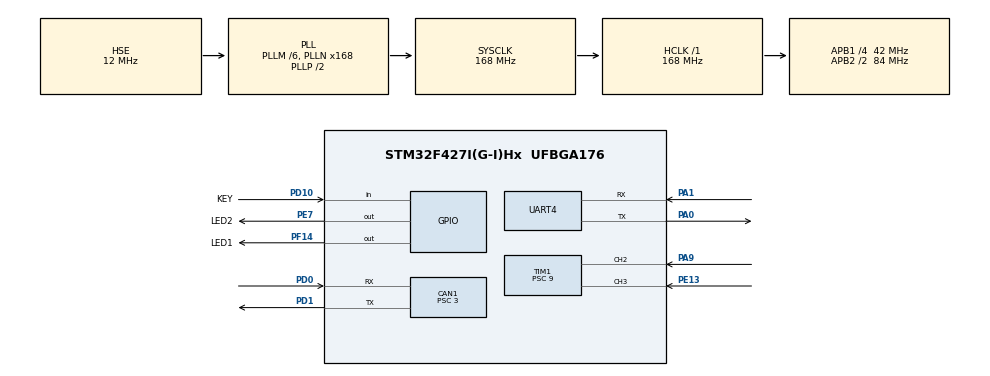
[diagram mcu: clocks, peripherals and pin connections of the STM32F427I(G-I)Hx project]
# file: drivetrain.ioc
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CAN1.ABOM=ENABLE
CAN1.BS1=CAN_BS1_9TQ
CAN1.BS2=CAN_BS2_4TQ
CAN1.CalculateBaudRate=1000000
CAN1.CalculateTimeBit=1000
CAN1.CalculateTimeQuantum=71.42857142857143
CAN1.Prescaler=3
CAN1.SJW=CAN_SJW_1TQ
Dma.Request0=TIM1_CH1/CH2/CH3
Dma.TIM1_CH1/CH2/CH3.0.Direction=DMA_PERIPH_TO_MEMORY
Dma.TIM1_CH1/CH2/CH3.0.FIFOMode=DMA_FIFOMODE_DISABLE
Dma.TIM1_CH1/CH2/CH3.0.Instance=DMA2_Stream6
Dma.TIM1_CH1/CH2/CH3.0.MemDataAlignment=DMA_MDATAALIGN_HALFWORD
Dma.TIM1_CH1/CH2/CH3.0.MemInc=DMA_MINC_ENABLE
Dma.TIM1_CH1/CH2/CH3.0.Mode=DMA_CIRCULAR
Dma.TIM1_CH1/CH2/CH3.0.PeriphDataAlignment=DMA_PDATAALIGN_HALFWORD
Dma.TIM1_CH1/CH2/CH3.0.PeriphInc=DMA_PINC_DISABLE
Dma.TIM1_CH1/CH2/CH3.0.Priority=DMA_PRIORITY_LOW
Mcu.Family=STM32F4
Mcu.Name=STM32F427I(G-I)Hx
Mcu.Package=UFBGA176
NVIC.CAN1_RX0_IRQn=true\:0\:0\:false\:false\:true\:true\:true\:true
NVIC.CAN1_TX_IRQn=true\:0\:0\:false\:false\:true\:true\:true\:true
NVIC.DMA2_Stream6_IRQn=true\:0\:0\:false\:false\:true\:false\:true\:true
NVIC.PriorityGroup=NVIC_PRIORITYGROUP_4
NVIC.TIM6_DAC_IRQn=true\:15\:0\:false\:false\:true\:true\:true\:true
NVIC.TimeBase=TIM6_DAC_IRQn
NVIC.TimeBaseIP=TIM6
PA0/WKUP.Mode=Asynchronous
PA0/WKUP.Signal=UART4_TX
PA1.Mode=Asynchronous
PA1.Signal=UART4_RX
PA13.Mode=Serial_Wire
PA13.Signal=SYS_JTMS-SWDIO
PA14.Mode=Serial_Wire
PA14.Signal=SYS_JTCK-SWCLK
PA9.Signal=S_TIM1_CH2
PD0.Mode=CAN_Activate
PD0.Signal=CAN1_RX
PD1.Mode=CAN_Activate
PD1.Signal=CAN1_TX
PD10.GPIO_Label=KEY
PD10.Signal=GPIO_Input
PE13.Signal=S_TIM1_CH3
PE7.GPIO_Label=LED2
PE7.Signal=GPIO_Output
PF14.GPIO_Label=LED1
PF14.Signal=GPIO_Output
PH0/OSC_IN.Mode=HSE-External-Oscillator
PH0/OSC_IN.Signal=RCC_OSC_IN
PH1/OSC_OUT.Mode=HSE-External-Oscillator
PH1/OSC_OUT.Signal=RCC_OSC_OUT
ProjectManager.HeapSize=0x200
ProjectManager.StackSize=0x400
ProjectManager.TargetToolchain=STM32CubeIDE
RCC.48MHZClocksFreq_Value=84000000
RCC.AHBFreq_Value=168000000
RCC.APB1CLKDivider=RCC_HCLK_DIV4
RCC.APB1Freq_Value=42000000
RCC.APB1TimFreq_Value=84000000
RCC.APB2CLKDivider=RCC_HCLK_DIV2
RCC.APB2Freq_Value=84000000
RCC.APB2TimFreq_Value=168000000
RCC.CortexFreq_Value=168000000
RCC.HCLKFreq_Value=168000000
RCC.HSE_VALUE=12000000
RCC.HSI_VALUE=16000000
RCC.LSE_VALUE=32768
RCC.PLLM=6
RCC.PLLN=168
RCC.PLLSourceVirtual=RCC_PLLSOURCE_HSE
RCC.SYSCLKFreq_VALUE=168000000
RCC.SYSCLKSource=RCC_SYSCLKSOURCE_PLLCLK
RCC.VCOOutputFreq_Value=336000000
SH.S_TIM1_CH2.0=TIM1_CH2,Input_Capture2_from_TI2
SH.S_TIM1_CH2.1=TIM1_CH2,Input_Capture1_from_TI2
SH.S_TIM1_CH3.0=TIM1_CH3,Input_Capture3_from_TI3
SH.S_TIM1_CH3.1=TIM1_CH3,Input_Capture4_from_TI3
TIM1.Channel-Input_Capture1_from_TI2=TIM_CHANNEL_1
TIM1.Channel-Input_Capture2_from_TI2=TIM_CHANNEL_2
TIM1.Channel-Input_Capture3_from_TI3=TIM_CHANNEL_3
TIM1.Channel-Input_Capture4_from_TI3=TIM_CHANNEL_4
TIM1.ICPolarity_CH2=TIM_INPUTCHANNELPOLARITY_BOTHEDGE
TIM1.Period=9999
TIM1.Prescaler=9
UART4.VirtualMode=Asynchronous
VP_SYS_VS_tim6.Mode=TIM6
board=demo

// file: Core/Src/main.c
/* USER CODE BEGIN Header */
/**
 ******************************************************************************
 * @file           : main.c
 * @brief          : Main program body
 ******************************************************************************
 * @attention
 *
 * Copyright (c) 2023 STMicroelectronics.
 * All rights reserved.
 *
 * This software is licensed under terms that can be found in the LICENSE file
 * in the root directory of this software component.
 * If no LICENSE file comes with this software, it is provided AS-IS.
 *
 ******************************************************************************
 */
/* USER CODE END Header */

/* USER CODE BEGIN Includes */
#include "main.h"
#include "can.h"
#include "dma.h"
#include "tim.h"
#include "usart.h"
#include "gpio.h"
#include "PID.h"
#include <limits.h>

// External UART handle (defined in usart.c, generated by CubeMX)
extern UART_HandleTypeDef huart4;
/* USER CODE END Includes */

/* USER CODE BEGIN PD */
#define MOTOR_COUNT 4

#define UART_RX_PAYLOAD_RUNTIME 9
#define UART_RX_PAYLOAD_PID 7
#define UART_RX_BUFFER_SIZE UART_RX_PAYLOAD_RUNTIME
#define UART_TX_BUFFER_SIZE 12  // reserved for transmit (unused today)
#define HEADER_BYTE_1 0xCA        // UART sync byte 1
#define HEADER_BYTE_2_RUNTIME 0xFE // UART sync byte 2 (runtime)
#define HEADER_BYTE_2_PID 0xEE     // UART sync byte 2 (PID tuning)
#define DRIBBLE_ON 0x01           // command flag for dribbler
#define PID_SCALE 1000.0f
#define PID_WHEEL_ALL 4
#define PID_WHEEL_ALL_ALT 0xFF

#define UART_RX_MODE_NONE 0
#define UART_RX_MODE_RUNTIME 1
#define UART_RX_MODE_PID 2

#define CONTROL_LOOP_DELAY_MS 10
#define TARGET_SCALE 100.0f
#define DRIBBLE_SCALE -100

// Ramp tuning: milliseconds per unit of target.
// Smaller values ramp faster; larger values ramp slower.
#define WHEEL_RAMP_MS_PER_UNIT 10.0f
#define DRIBBLER_RAMP_MS_PER_UNIT 2.0f

#define CAN_MOTOR_TX_STDID 0x200
#define CAN_DRIBBLER_TX_STDID 0x1FF
#define CAN_MOTOR_RX_STDID_BASE 0x201

#define REDUCTION_RATIO 36.0f
#define RPM_TO_RADS 0.10472f

#define PROPORTIONAL_GAIN 1000.0f
#define INTEGRAL_GAIN 0.0f
#define DERIVATIVE_GAIN 0.0f

#define RIGHT_GAIN_MULT 1.0f
#define LEFT_GAIN_MULT 0.9f

// Telemetry over UART -> ESP32 -> UDP.
#define TELEMETRY_ENABLED 1
#define TELEMETRY_PERIOD_MS 500
#define TELEMETRY_HEADER_1 0xFE
#define TELEMETRY_HEADER_2 0xED
#define TELEMETRY_PAYLOAD_SIZE 28
#define TELEMETRY_PACKET_SIZE 30

/* USER CODE END PD */

/* USER CODE BEGIN PV */

// CAN variables (tx/rx headers and data buffers).
CAN_TxHeaderTypeDef canTxHeader;  // Motors 1-4 (StdId 0x200)
CAN_TxHeaderTypeDef canTxHeader2; // Motor 5 (dribbler) (StdId 0x1FF)
CAN_RxHeaderTypeDef canRxHeader;
uint32_t canTxMailbox;
uint8_t CAN_TxData[8];
uint8_t CAN2_TxData[8];
uint8_t CAN_RxData[8];

// Motor feedback/control state (shared between ISR and main loop).
volatile uint8_t motor_idx;
volatile uint16_t angle_data[MOTOR_COUNT];
volatile float speed_data[MOTOR_COUNT];
volatile float torque_current_data[MOTOR_COUNT];
volatile float targetSpeeds[MOTOR_COUNT];
volatile int dribble_speed;
PID_TypeDef motor_pid[MOTOR_COUNT];

// Ramped setpoints used by the control loop.
static float ramped_target_speeds[MOTOR_COUNT];
static float ramped_dribbler_speed;
static uint32_t ramp_last_ms;

/*volatile float Kp1 = 0.503;
volatile float Ki1 = 0.005;
volatile float Kd1 = 0.00;
volatile float Kp2 = 0.3;
volatile float Ki2 = 0.0;
volatile float Kd2 = 0.00;
volatile float Kp3 = 0.273;
volatile float Ki3 = 0.0;
volatile float Kd3 = 0.00;
volatile float Kp4 = 0.403;
volatile float Ki4 = 0.0;
volatile float Kd4 = 0.00;*/

// PID limits and defaults.
const float INTEGRAL_LIMIT = 1000.0f;
const float MAXOUT = 3000.0f;
const float DEADBAND = 0.5f;
const float TARGET = 0.0f;

volatile float Kp1 = PROPORTIONAL_GAIN * RIGHT_GAIN_MULT; // front-right
volatile float Ki1 = INTEGRAL_GAIN;
volatile float Kd1 = DERIVATIVE_GAIN;

volatile float Kp2 = PROPORTIONAL_GAIN * RIGHT_GAIN_MULT; // back-right
volatile float Ki2 = INTEGRAL_GAIN;
volatile float Kd2 = DERIVATIVE_GAIN;

volatile float Kp3 = PROPORTIONAL_GAIN * LEFT_GAIN_MULT; // back-left
volatile float Ki3 = INTEGRAL_GAIN;
volatile float Kd3 = DERIVATIVE_GAIN;

volatile float Kp4 = PROPORTIONAL_GAIN * LEFT_GAIN_MULT; // front-left
volatile float Ki4 = INTEGRAL_GAIN;
volatile float Kd4 = DERIVATIVE_GAIN;

// UART setup (rx is interrupt-driven).
uint8_t uart_rx_buffer[UART_RX_BUFFER_SIZE];
uint8_t uart_tx_buffer[UART_TX_BUFFER_SIZE];
volatile uint8_t rx_byte = 0;
volatile int header1_flag = 0;
volatile int header2_flag = 0;
volatile uint8_t rx_mode = UART_RX_MODE_NONE;
volatile uint8_t rx_expected_length = 0;

// Telemetry TX state.
static uint8_t telemetry_tx_buffer[TELEMETRY_PACKET_SIZE];
static volatile uint8_t telemetry_tx_busy;
static uint32_t telemetry_last_ms;

// Safety timeout for comms loss (incremented in main loop).
volatile int timeout;

/* USER CODE END PV */

void SystemClock_Config(void);
/* USER CODE BEGIN PFP */

// Application initialization and control loop.
static void app_init(void);
static void control_loop_step(void);

// Hardware/runtime setup helpers.
static void init_motor_power_pins(void);
static void init_can_headers(void);
static void init_pid_controllers(void);
static void init_feedback_buffers(void);
static void init_target_buffers(void);
static void init_status_leds(void);
static void init_uart_state(void);
static void start_uart_rx(void);

// CAN/UART parsing helpers.
static uint8_t motor_index_from_std_id(uint32_t std_id, uint8_t *out_index);
static void update_feedback_from_can(uint8_t index, const uint8_t data[8]);
static void apply_uart_packet(const uint8_t *payload);
static void apply_pid_packet(const uint8_t *payload);
static int16_t bytes_to_int16_be(const uint8_t *bytes);
static int16_t clamp_int16_from_float(float value);
static void telemetry_try_send(void);

// Utility helpers.
static void clear_buffer(uint8_t *buffer, uint32_t length);
static void split_int16(int16_t value, uint8_t *high, uint8_t *low);
static float ramp_linear(float current, float target, float ms_per_unit, float dt_ms);
static float ramp_get_dt_ms(void);
static void set_pid_for_wheel(uint8_t wheel, float kp, float ki, float kd);

/* USER CODE END PFP */

/* USER CODE BEGIN 0 */

// Clear a buffer to zero.
static void clear_buffer(uint8_t *buffer, uint32_t length)
{
	for (uint32_t i = 0; i < length; ++i) {
		buffer[i] = 0;
	}
}

// Split a signed 16-bit value into high/low bytes (big-endian).
static void split_int16(int16_t value, uint8_t *high, uint8_t *low)
{
	uint16_t uvalue = (uint16_t)value;
	*high = (uint8_t)((uvalue >> 8) & 0xFF);
	*low = (uint8_t)(uvalue & 0xFF);
}

// Combine two bytes into a signed 16-bit value (big-endian).
static int16_t bytes_to_int16_be(const uint8_t *bytes)
{
	return (int16_t)((bytes[0] << 8) | bytes[1]);
}

// Clamp and round a float into int16 range.
static int16_t clamp_int16_from_float(float value)
{
	if (value > (float)INT16_MAX) {
		return INT16_MAX;
	}
	if (value < (float)INT16_MIN) {
		return INT16_MIN;
	}
	if (value >= 0.0f) {
		value += 0.5f;
	} else {
		value -= 0.5f;
	}
	return (int16_t)value;
}

// Linear ramp limiter: advances current toward target at a fixed slope.
// ms_per_unit sets how many milliseconds it takes to change by 1 unit.
static float ramp_linear(float current, float target, float ms_per_unit, float dt_ms)
{
	if (ms_per_unit <= 0.0f) {
		return target;
	}

	if (dt_ms <= 0.0f) {
		return current;
	}

	float max_delta = dt_ms / ms_per_unit;
	float delta = target - current;

	if (delta > max_delta) {
		delta = max_delta;
	} else if (delta < -max_delta) {
		delta = -max_delta;
	}

	return current + delta;
}

// Compute elapsed time since last ramp update in milliseconds.
static float ramp_get_dt_ms(void)
{
	uint32_t now = HAL_GetTick();
	if (ramp_last_ms == 0) {
		ramp_last_ms = now;
		return 0.0f;
	}

	uint32_t dt_ms = now - ramp_last_ms;
	ramp_last_ms = now;
	return (float)dt_ms;
}

// Enable motor power pins on startup.
static void init_motor_power_pins(void)
{
	HAL_GPIO_TogglePin(MOTOR_PORT, MOTOR1_PIN);
	HAL_GPIO_TogglePin(MOTOR_PORT, MOTOR2_PIN);
	HAL_GPIO_TogglePin(MOTOR_PORT, MOTOR3_PIN);
	HAL_GPIO_TogglePin(MOTOR_PORT, MOTOR4_PIN);
	HAL_GPIO_TogglePin(MOTOR_PORT, MOTOR5_PIN);
}

// Configure CAN transmit headers for drivetrain and dribbler.
static void init_can_headers(void)
{
	canTxHeader.DLC = 8;
	canTxHeader.IDE = CAN_ID_STD;
	canTxHeader.RTR = CAN_RTR_DATA;
	canTxHeader.StdId = CAN_MOTOR_TX_STDID;
	canTxHeader.TransmitGlobalTime = DISABLE;

	canTxHeader2.DLC = 8;
	canTxHeader2.IDE = CAN_ID_STD;
	canTxHeader2.RTR = CAN_RTR_DATA;
	canTxHeader2.StdId = CAN_DRIBBLER_TX_STDID;
	canTxHeader2.TransmitGlobalTime = DISABLE;
}

// Initialize feedback buffers used by the control loop.
static void init_feedback_buffers(void)
{
	for (int i = 0; i < MOTOR_COUNT; ++i) {
		angle_data[i] = 0;
		speed_data[i] = 0.0f;
		torque_current_data[i] = 0.0f;
	}
}

// Initialize command/target buffers used by the control loop.
static void init_target_buffers(void)
{
	for (int i = 0; i < MOTOR_COUNT; ++i) {
		targetSpeeds[i] = 0.0f;
		ramped_target_speeds[i] = 0.0f;
	}
	dribble_speed = 0;
	ramped_dribbler_speed = 0.0f;
	ramp_last_ms = HAL_GetTick();
}

// Initialize PID controllers for each wheel.
static void init_pid_controllers(void)
{
	pid_init(&motor_pid[0], MAXOUT, INTEGRAL_LIMIT, DEADBAND, TARGET, Kp1, Ki1, Kd1);
	pid_init(&motor_pid[1], MAXOUT, INTEGRAL_LIMIT, DEADBAND, TARGET, Kp2, Ki2, Kd2);
	pid_init(&motor_pid[2], MAXOUT, INTEGRAL_LIMIT, DEADBAND, TARGET, Kp3, Ki3, Kd3);
	pid_init(&motor_pid[3], MAXOUT, INTEGRAL_LIMIT, DEADBAND, TARGET, Kp4, Ki4, Kd4);
}

// Initialize LEDs to off state.
static void init_status_leds(void)
{
	HAL_GPIO_WritePin(LED_GREEN_PORT, LED_GREEN_PIN, LED_OFF);
	HAL_GPIO_WritePin(LED_RED_PORT, LED_RED_PIN, LED_OFF);
}

// Initialize UART state machine and buffers.
static void init_uart_state(void)
{
	rx_byte = 0;
	header1_flag = 0;
	header2_flag = 0;
	rx_mode = UART_RX_MODE_NONE;
	rx_expected_length = 0;
	timeout = 0;
	telemetry_tx_busy = 0;
	telemetry_last_ms = 0;
	clear_buffer(uart_rx_buffer, UART_RX_BUFFER_SIZE);
	clear_buffer(uart_tx_buffer, UART_TX_BUFFER_SIZE);
}

// Begin receiving UART bytes via interrupt.
static void start_uart_rx(void)
{
	HAL_UART_Receive_IT(&huart4, &rx_byte, 1);
}

// One-time application setup.
static void app_init(void)
{
	init_motor_power_pins();
	init_can_headers();
	init_feedback_buffers();
	init_target_buffers();
	init_pid_controllers();
	init_status_leds();
	init_uart_state();
	start_uart_rx();
}

// Convert CAN StdId into motor index (0..MOTOR_COUNT-1).
static uint8_t motor_index_from_std_id(uint32_t std_id, uint8_t *out_index)
{
	if (std_id < CAN_MOTOR_RX_STDID_BASE
			|| std_id >= (CAN_MOTOR_RX_STDID_BASE + MOTOR_COUNT)) {
		return 0;
	}
	*out_index = (uint8_t)(std_id - CAN_MOTOR_RX_STDID_BASE);
	return 1;
}

// Update feedback arrays from a CAN RX payload.
static void update_feedback_from_can(uint8_t index, const uint8_t data[8])
{
	if (index >= MOTOR_COUNT) {
		return;
	}

	// Angle of the motor (0 - 8191 corresponding with 0 - 360 degrees).
	angle_data[index] = (uint16_t) (data[0] << 8 | data[1]);

	// Speed of the motor in rpm, converted to rad/s after gear reduction.
	int16_t rpm = (int16_t)((data[2] << 8) | data[3]);
	speed_data[index] = (rpm / REDUCTION_RATIO) * RPM_TO_RADS;

	// Torque current of the motor (raw units).
	torque_current_data[index] = (float)((data[4] << 8) | data[5]);
}

// Apply a full UART payload (already stripped of header bytes).
static void apply_uart_packet(const uint8_t *payload)
{
	targetSpeeds[0] = (float)bytes_to_int16_be(&payload[0]);
	targetSpeeds[1] = (float)bytes_to_int16_be(&payload[2]);
	targetSpeeds[2] = (float)bytes_to_int16_be(&payload[4]);
	targetSpeeds[3] = (float)bytes_to_int16_be(&payload[6]);
	// Optional tuning: boost front-right wheel (disabled by default).
	// targetSpeeds[0] = targetSpeeds[0] * 1.15f;
	// Historical note: |targetSpeeds[i]| was previously limited to 500.
	dribble_speed = (int8_t)payload[8];
}

// Update PID gains from a tuning packet payload.
static void apply_pid_packet(const uint8_t *payload)
{
	uint8_t wheel = payload[0];
	int16_t kp_q = bytes_to_int16_be(&payload[1]);
	int16_t ki_q = bytes_to_int16_be(&payload[3]);
	int16_t kd_q = bytes_to_int16_be(&payload[5]);

	float kp = ((float)kp_q) / PID_SCALE;
	float ki = ((float)ki_q) / PID_SCALE;
	float kd = ((float)kd_q) / PID_SCALE;

	if (wheel == PID_WHEEL_ALL || wheel == PID_WHEEL_ALL_ALT) {
		for (uint8_t i = 0; i < MOTOR_COUNT; ++i) {
			set_pid_for_wheel(i, kp, ki, kd);
		}
		return;
	}

	set_pid_for_wheel(wheel, kp, ki, kd);
}

// One iteration of the main control loop.
static void control_loop_step(void)
{
	float dt_ms = ramp_get_dt_ms();

	// Safety timeout when UART disconnects (uncomment if needed).
	if (timeout >= 200) {
		for (int i = 0; i < MOTOR_COUNT; ++i) {
			targetSpeeds[i] = 0.0f;
		}
	}

	for (int i = 0; i < MOTOR_COUNT; ++i) {
		// Target speeds arrive in centi-units; scale to match feedback units.
		float target = ((float)targetSpeeds[i]) / TARGET_SCALE;
		// Ramp the target to avoid instant changes.
		ramped_target_speeds[i] = ramp_linear(ramped_target_speeds[i], target,
				WHEEL_RAMP_MS_PER_UNIT, dt_ms);
		motor_pid[i].target = ramped_target_speeds[i];
		pid_calculate(&motor_pid[i], speed_data[i]);
	}

	// Ramp the dribbler command as well.
	float dribbler_target = (float)dribble_speed * DRIBBLE_SCALE;
	ramped_dribbler_speed = ramp_linear(ramped_dribbler_speed, dribbler_target,
			DRIBBLER_RAMP_MS_PER_UNIT, dt_ms);

	setMotorSpeeds((int16_t)motor_pid[0].output,
			(int16_t)motor_pid[1].output,
			(int16_t)motor_pid[2].output,
			(int16_t)motor_pid[3].output,
			(int16_t)ramped_dribbler_speed);

	timeout++;
}

// Send telemetry at a fixed rate without blocking the control loop.
static void telemetry_try_send(void)
{
#if TELEMETRY_ENABLED
	if (telemetry_tx_busy) {
		return;
	}

	uint32_t now = HAL_GetTick();
	if ((now - telemetry_last_ms) < TELEMETRY_PERIOD_MS) {
		return;
	}

	telemetry_tx_buffer[0] = TELEMETRY_HEADER_1;
	telemetry_tx_buffer[1] = TELEMETRY_HEADER_2;
	telemetry_tx_buffer[2] = (uint8_t)((now >> 24) & 0xFF);
	telemetry_tx_buffer[3] = (uint8_t)((now >> 16) & 0xFF);
	telemetry_tx_buffer[4] = (uint8_t)((now >> 8) & 0xFF);
	telemetry_tx_buffer[5] = (uint8_t)(now & 0xFF);

	uint8_t *payload = &telemetry_tx_buffer[6];
	for (int i = 0; i < MOTOR_COUNT; ++i) {
		int16_t target = clamp_int16_from_float(motor_pid[i].target * TARGET_SCALE);
		int16_t actual = clamp_int16_from_float(speed_data[i] * TARGET_SCALE);
		int16_t output = clamp_int16_from_float(motor_pid[i].output);

		split_int16(target, &payload[0], &payload[1]);
		split_int16(actual, &payload[2], &payload[3]);
		split_int16(output, &payload[4], &payload[5]);
		payload += 6;
	}

	if (HAL_UART_Transmit_IT(&huart4, telemetry_tx_buffer, TELEMETRY_PACKET_SIZE) == HAL_OK) {
		telemetry_tx_busy = 1;
		telemetry_last_ms = now;
	}
#endif
}

// Update PID gains for a single wheel and keep shadow variables in sync.
static void set_pid_for_wheel(uint8_t wheel, float kp, float ki, float kd)
{
	if (wheel >= MOTOR_COUNT) {
		return;
	}

	switch (wheel) {
	case 0:
		Kp1 = kp;
		Ki1 = ki;
		Kd1 = kd;
		break;
	case 1:
		Kp2 = kp;
		Ki2 = ki;
		Kd2 = kd;
		break;
	case 2:
		Kp3 = kp;
		Ki3 = ki;
		Kd3 = kd;
		break;
	case 3:
		Kp4 = kp;
		Ki4 = ki;
		Kd4 = kd;
		break;
	default:
		return;
	}

	pid_set_constants(&motor_pid[wheel], kp, ki, kd);
}

/* USER CODE END 0 */

int main(void) {

	/* MCU Configuration--------------------------------------------------------*/

	/* Reset of all peripherals, Initializes the Flash interface and the Systick. */
	HAL_Init();

	/* Configure the system clock */
	SystemClock_Config();

	//printf("Hello SWV!\r\n");
	/* Initialize all configured peripherals */
	MX_GPIO_Init();
	MX_DMA_Init();
	MX_CAN1_Init();
	MX_TIM1_Init();
	MX_UART4_Init();
	/* USER CODE BEGIN 2 */
	// Initialize runtime state and start peripherals.
	app_init();

	/* USER CODE END 2 */

	/* Infinite loop */
	/* USER CODE BEGIN WHILE */
	while (1) {
		// Main control loop iteration.
		control_loop_step();
		telemetry_try_send();
		HAL_Delay(CONTROL_LOOP_DELAY_MS);
		/* USER CODE END WHILE */

	}
}

void HAL_CAN_RxFifo0MsgPendingCallback(CAN_HandleTypeDef *hcan) {
	//HAL_GPIO_TogglePin(LED_GREEN_PORT,LED_GREEN_PIN);
	if (hcan != &hcan1) {
		return;
	}

	// Read the incoming CAN message.
	if (HAL_CAN_GetRxMessage(&hcan1, CAN_RX_FIFO0, &canRxHeader, CAN_RxData) != HAL_OK) {
		return;
	}

	// Map StdId to motor index and update feedback buffers.
	uint8_t index = 0;
	if (!motor_index_from_std_id(canRxHeader.StdId, &index)) {
		return;
	}

	motor_idx = index;
	update_feedback_from_can(index, CAN_RxData);
}

void HAL_UART_RxCpltCallback(UART_HandleTypeDef *huart) {
	(void)huart;
	// Called when a byte or the full UART payload has been received.

	if (!header1_flag) {
		if (rx_byte == HEADER_BYTE_1) {
			// First header byte received.
			header1_flag = 1;
		}
		HAL_UART_Receive_IT(&huart4, &rx_byte, 1);
		return;
	}

	if (header2_flag) {
		// Full message received.
		timeout = 0;

		if (rx_mode == UART_RX_MODE_RUNTIME) {
			apply_uart_packet(uart_rx_buffer);
		} else if (rx_mode == UART_RX_MODE_PID) {
			apply_pid_packet(uart_rx_buffer);
		}
		clear_buffer(uart_rx_buffer, UART_RX_BUFFER_SIZE);
		HAL_GPIO_TogglePin(LED_GREEN_PORT, LED_GREEN_PIN);

		header1_flag = 0;
		header2_flag = 0;
		rx_mode = UART_RX_MODE_NONE;
		rx_expected_length = 0;
		HAL_UART_Receive_IT(&huart4, &rx_byte, 1);
		return;
	}

	if (rx_byte == HEADER_BYTE_2_RUNTIME) {
		// Second header byte received; read full payload.
		header2_flag = 1;
		rx_mode = UART_RX_MODE_RUNTIME;
		rx_expected_length = UART_RX_PAYLOAD_RUNTIME;
		HAL_UART_Receive_IT(&huart4, uart_rx_buffer, rx_expected_length);
		return;
	}

	if (rx_byte == HEADER_BYTE_2_PID) {
		// PID tuning packet received; read tuning payload.
		header2_flag = 1;
		rx_mode = UART_RX_MODE_PID;
		rx_expected_length = UART_RX_PAYLOAD_PID;
		HAL_UART_Receive_IT(&huart4, uart_rx_buffer, rx_expected_length);
		return;
	}

	// Header mismatch; reset and look for the first header byte again.
	header1_flag = 0;
	HAL_UART_Receive_IT(&huart4, &rx_byte, 1);
}

void HAL_UART_TxCpltCallback(UART_HandleTypeDef *huart) {
	if (huart == &huart4) {
		telemetry_tx_busy = 0;
	}
}

void SystemClock_Config(void) {
	RCC_OscInitTypeDef RCC_OscInitStruct = { 0 };
	RCC_ClkInitTypeDef RCC_ClkInitStruct = { 0 };

	/** Configure the main internal regulator output voltage
	 */
	__HAL_RCC_PWR_CLK_ENABLE();
	__HAL_PWR_VOLTAGESCALING_CONFIG(PWR_REGULATOR_VOLTAGE_SCALE1);

	/** Initializes the RCC Oscillators according to the specified parameters
	 * in the RCC_OscInitTypeDef structure.
	 */
	RCC_OscInitStruct.OscillatorType = RCC_OSCILLATORTYPE_HSE;
	RCC_OscInitStruct.HSEState = RCC_HSE_ON;
	RCC_OscInitStruct.PLL.PLLState = RCC_PLL_ON;
	RCC_OscInitStruct.PLL.PLLSource = RCC_PLLSOURCE_HSE;
	RCC_OscInitStruct.PLL.PLLM = 6;
	RCC_OscInitStruct.PLL.PLLN = 168;
	RCC_OscInitStruct.PLL.PLLP = RCC_PLLP_DIV2;
	RCC_OscInitStruct.PLL.PLLQ = 4;
	if (HAL_RCC_OscConfig(&RCC_OscInitStruct) != HAL_OK) {
		Error_Handler();
	}

	/** Initializes the CPU, AHB and APB buses clocks
	 */
	RCC_ClkInitStruct.ClockType = RCC_CLOCKTYPE_HCLK | RCC_CLOCKTYPE_SYSCLK
			| RCC_CLOCKTYPE_PCLK1 | RCC_CLOCKTYPE_PCLK2;
	RCC_ClkInitStruct.SYSCLKSource = RCC_SYSCLKSOURCE_PLLCLK;
	RCC_ClkInitStruct.AHBCLKDivider = RCC_SYSCLK_DIV1;
	RCC_ClkInitStruct.APB1CLKDivider = RCC_HCLK_DIV4;
	RCC_ClkInitStruct.APB2CLKDivider = RCC_HCLK_DIV2;

	if (HAL_RCC_ClockConfig(&RCC_ClkInitStruct, FLASH_LATENCY_5) != HAL_OK) {
		Error_Handler();
	}
}

/* USER CODE BEGIN 4 */
void setMotorSpeeds(int16_t ms1, int16_t ms2, int16_t ms3, int16_t ms4, int16_t msg5) {
	uint8_t h1 = 0, l1 = 0;
	uint8_t h2 = 0, l2 = 0;
	uint8_t h3 = 0, l3 = 0;
	uint8_t h4 = 0, l4 = 0;
	uint8_t h5 = 0, l5 = 0;

	// Split each command into high/low bytes for CAN.
	split_int16(ms1, &h1, &l1);
	split_int16(ms2, &h2, &l2);
	split_int16(ms3, &h3, &l3);
	split_int16(ms4, &h4, &l4);
	split_int16(msg5, &h5, &l5);

	runMotors(h1, l1, h2, l2, h3, l3, h4, l4, h5, l5);
}

void runMotors(uint8_t motorOneHigh, uint8_t motorOneLow,
		uint8_t motorTwoHigh, uint8_t motorTwoLow,
		uint8_t motorThreeHigh, uint8_t motorThreeLow,
		uint8_t motorFourHigh, uint8_t motorFourLow,
		uint8_t motorFiveHigh, uint8_t motorFiveLow) {

	// Speed commands are 16-bit values split into high/low bytes.
	CAN_TxData[0] = motorOneHigh;
	CAN_TxData[1] = motorOneLow;
	CAN_TxData[2] = motorTwoHigh;
	CAN_TxData[3] = motorTwoLow;
	CAN_TxData[4] = motorThreeHigh;
	CAN_TxData[5] = motorThreeLow;
	CAN_TxData[6] = motorFourHigh;
	CAN_TxData[7] = motorFourLow;

	CAN2_TxData[0] = motorFiveHigh;
	CAN2_TxData[1] = motorFiveLow;
	for (int i = 2; i < 8; ++i) {
		CAN2_TxData[i] = 0;
	}

	HAL_CAN_AddTxMessage(&hcan1, &canTxHeader, CAN_TxData, &canTxMailbox);
	HAL_CAN_AddTxMessage(&hcan1, &canTxHeader2, CAN2_TxData, &canTxMailbox);
}

/* USER CODE END 4 */

void HAL_TIM_PeriodElapsedCallback(TIM_HandleTypeDef *htim) {
	if (htim->Instance == TIM6) {
		HAL_IncTick();
	}
}

void Error_Handler(void) {
	__disable_irq();
	while (1) {
	}
}
